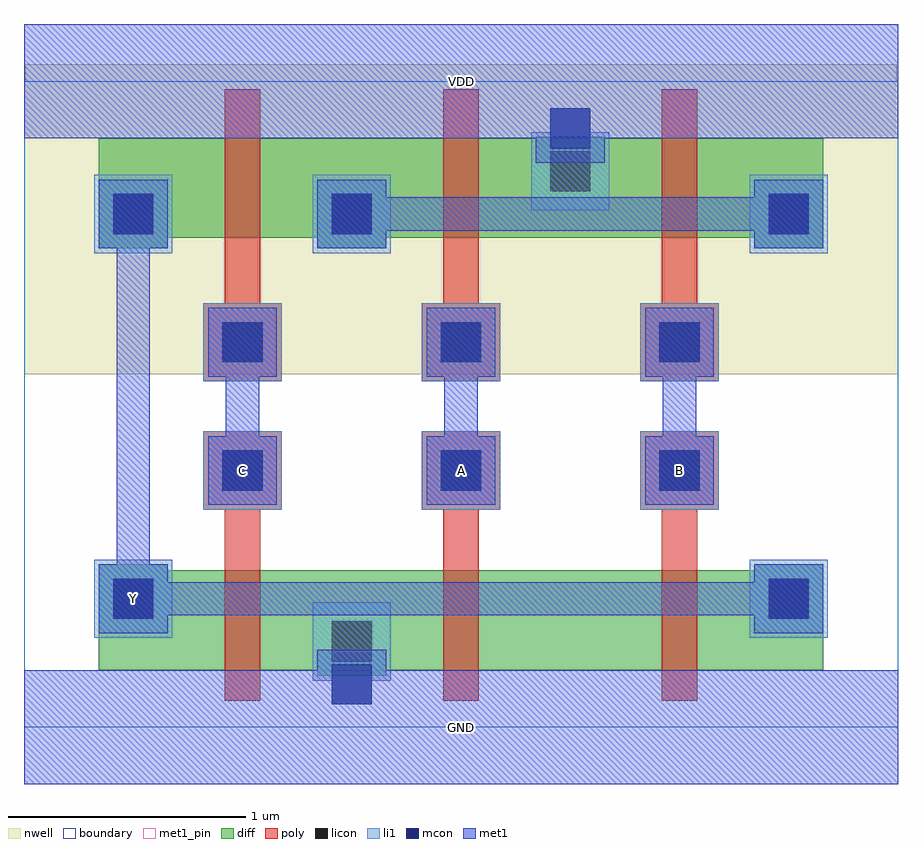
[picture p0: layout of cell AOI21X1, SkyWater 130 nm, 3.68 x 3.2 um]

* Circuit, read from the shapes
.subckt AOI21X1 A B C GND VDD Y
XM1 GND C Y VSUBS sky130_fd_pr__nfet_01v8 w=0.42 l=0.15
XM2 n1 A GND VSUBS sky130_fd_pr__nfet_01v8 w=0.42 l=0.15
XM3 Y B n1 VSUBS sky130_fd_pr__nfet_01v8 w=0.42 l=0.15
XM4 n2 C Y n3 sky130_fd_pr__pfet_01v8 w=0.42 l=0.15
XM5 VDD A n2 n3 sky130_fd_pr__pfet_01v8 w=0.42 l=0.15
XM6 n2 B VDD n3 sky130_fd_pr__pfet_01v8 w=0.42 l=0.15
.ends

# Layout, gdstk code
import gdstk
lib = gdstk.Library(unit=1e-6, precision=1e-09)
def R(c, l, rs):  # rectangles x0, y0, x1, y1
    for r in rs: c.add(gdstk.rectangle(r[:2], r[2:], *l))
def A(c, l, x, y, w, h, nx, ny, dx, dy):  # array of equal rectangles
    R(c, l, [(x+i*dx, y+j*dy, x+i*dx+w, y+j*dy+h) for i in range(nx) for j in range(ny)])
def P(c, l, *ps):  # polygons
    for p in ps: c.add(gdstk.Polygon(p, *l))
nwell = (64, 20)
diff = (65, 20)
poly = (66, 20)
licon = (66, 44)
li1 = (67, 20)
mcon = (67, 44)
met1_pin = (68, 16)
met1 = (68, 20)
boundary = (235, 4)

aoi21x1 = lib.new_cell('AOI21X1')
P(aoi21x1, nwell, [(0,1.485),(0,2.72),(0.005,2.72),(0.005,2.79),(3.675,2.79),(3.675,2.72),(3.68,2.72),(3.68,1.485)])
P(aoi21x1, diff, [(1.235,0.215),(1.235,0.24),(0.315,0.24),(0.315,0.685),(0.605,0.685),(0.605,0.66),(3.075,0.66),(3.075,0.685),(3.365,0.685),(3.365,0.24),(1.525,0.24),(1.525,0.215)],
  [(0.315,2.015),(0.315,2.48),(2.155,2.48),(2.155,2.485),(2.445,2.485),(2.445,2.48),(3.365,2.48),(3.365,2.015),(3.075,2.015),(3.075,2.06),(1.525,2.06),(1.525,2.015),(1.235,2.015),(1.235,2.06),(0.605,2.06),(0.605,2.015)])
P(aoi21x1, poly, [(0.845,0.11),(0.845,0.915),(0.755,0.915),(0.755,1.245),(1.085,1.245),(1.085,0.915),(0.995,0.915),(0.995,0.11)],
  [(1.765,0.11),(1.765,0.915),(1.675,0.915),(1.675,1.245),(2.005,1.245),(2.005,0.915),(1.915,0.915),(1.915,0.11)],
  [(2.685,0.11),(2.685,0.915),(2.595,0.915),(2.595,1.245),(2.925,1.245),(2.925,0.915),(2.835,0.915),(2.835,0.11)],
  [(0.755,1.455),(0.755,1.785),(0.845,1.785),(0.845,2.685),(0.995,2.685),(0.995,1.785),(1.085,1.785),(1.085,1.455)],
  [(1.675,1.455),(1.675,1.785),(1.765,1.785),(1.765,2.685),(1.915,2.685),(1.915,1.785),(2.005,1.785),(2.005,1.455)],
  [(2.595,1.455),(2.595,1.785),(2.685,1.785),(2.685,2.685),(2.835,2.685),(2.835,1.785),(2.925,1.785),(2.925,1.455)])
A(aoi21x1, licon, 0.835, 0.995, 0.17, 0.17, 3, 2, 0.92, 0.54)
R(aoi21x1, licon, [(1.295,0.275,1.465,0.445), (0.375,0.455,0.545,0.625), (3.135,0.455,3.305,0.625), (0.375,2.075,0.545,2.245), (1.295,2.075,1.465,2.245), (3.135,2.075,3.305,2.245), (2.215,2.255,2.385,2.425)])
A(aoi21x1, li1, 0.755, 0.915, 0.33, 0.33, 3, 2, 0.92, 0.54)
R(aoi21x1, li1, [(0.295,0.375,0.625,0.705), (3.055,0.375,3.385,0.705), (0.295,1.995,0.625,2.325), (1.215,1.995,1.545,2.325), (3.055,1.995,3.385,2.325)])
P(aoi21x1, li1, [(1.295,0.095),(1.295,0.195),(1.215,0.195),(1.215,0.525),(1.545,0.525),(1.545,0.195),(1.465,0.195),(1.465,0.095)],
  [(2.135,2.175),(2.135,2.505),(2.215,2.505),(2.215,2.605),(2.385,2.605),(2.385,2.505),(2.465,2.505),(2.465,2.175)])
A(aoi21x1, mcon, 0.835, 0.995, 0.17, 0.17, 3, 2, 0.92, 0.54)
R(aoi21x1, mcon, [(1.295,0.095,1.465,0.265), (0.375,0.455,0.545,0.625), (3.135,0.455,3.305,0.625), (0.375,2.075,0.545,2.245), (1.295,2.075,1.465,2.245), (3.135,2.075,3.305,2.245), (2.215,2.435,2.385,2.605)])
R(aoi21x1, met1_pin, [(0,-0.24,3.68,0.24), (0,2.48,3.68,2.96)])
P(aoi21x1, met1_pin, [(0.315,0.395),(0.315,0.685),(0.39,0.685),(0.39,2.015),(0.315,2.015),(0.315,2.305),(0.605,2.305),(0.605,2.015),(0.53,2.015),(0.53,0.685),(0.605,0.685),(0.605,0.61),(3.075,0.61),(3.075,0.685),(3.365,0.685),(3.365,0.395),(3.075,0.395),(3.075,0.47),(0.605,0.47),(0.605,0.395)],
  [(0.775,0.935),(0.775,1.225),(0.85,1.225),(0.85,1.475),(0.775,1.475),(0.775,1.765),(1.065,1.765),(1.065,1.475),(0.99,1.475),(0.99,1.225),(1.065,1.225),(1.065,0.935)],
  [(2.615,0.935),(2.615,1.225),(2.69,1.225),(2.69,1.475),(2.615,1.475),(2.615,1.765),(2.905,1.765),(2.905,1.475),(2.83,1.475),(2.83,1.225),(2.905,1.225),(2.905,0.935)],
  [(1.695,0.935),(1.695,1.225),(1.77,1.225),(1.77,1.475),(1.695,1.475),(1.695,1.765),(1.985,1.765),(1.985,1.475),(1.91,1.475),(1.91,1.225),(1.985,1.225),(1.985,0.935)])
P(aoi21x1, met1, [(0,-0.24),(0,0.24),(1.235,0.24),(1.235,0.325),(1.525,0.325),(1.525,0.24),(3.68,0.24),(3.68,-0.24)],
  [(0.775,0.935),(0.775,1.225),(0.85,1.225),(0.85,1.475),(0.775,1.475),(0.775,1.765),(1.065,1.765),(1.065,1.475),(0.99,1.475),(0.99,1.225),(1.065,1.225),(1.065,0.935)],
  [(1.695,0.935),(1.695,1.225),(1.77,1.225),(1.77,1.475),(1.695,1.475),(1.695,1.765),(1.985,1.765),(1.985,1.475),(1.91,1.475),(1.91,1.225),(1.985,1.225),(1.985,0.935)],
  [(2.615,0.935),(2.615,1.225),(2.69,1.225),(2.69,1.475),(2.615,1.475),(2.615,1.765),(2.905,1.765),(2.905,1.475),(2.83,1.475),(2.83,1.225),(2.905,1.225),(2.905,0.935)],
  [(0.315,0.395),(0.315,0.685),(0.39,0.685),(0.39,2.015),(0.315,2.015),(0.315,2.305),(0.605,2.305),(0.605,2.015),(0.53,2.015),(0.53,0.685),(0.605,0.685),(0.605,0.61),(3.075,0.61),(3.075,0.685),(3.365,0.685),(3.365,0.395),(3.075,0.395),(3.075,0.47),(0.605,0.47),(0.605,0.395)],
  [(1.235,2.015),(1.235,2.305),(1.525,2.305),(1.525,2.23),(3.075,2.23),(3.075,2.305),(3.365,2.305),(3.365,2.015),(3.075,2.015),(3.075,2.09),(1.525,2.09),(1.525,2.015)],
  [(2.155,2.375),(2.155,2.48),(0,2.48),(0,2.96),(3.68,2.96),(3.68,2.48),(2.445,2.48),(2.445,2.375)])
R(aoi21x1, boundary, [(0,0,3.68,2.72)])
aoi21x1.add(gdstk.Label('Y', (0.46,0.54), layer=68, texttype=5))
aoi21x1.add(gdstk.Label('C', (0.92,1.08), layer=68, texttype=5))
aoi21x1.add(gdstk.Label('B', (2.76,1.08), layer=68, texttype=5))
aoi21x1.add(gdstk.Label('A', (1.84,1.08), layer=68, texttype=5))
aoi21x1.add(gdstk.Label('GND', (1.84,0), layer=68, texttype=5))
aoi21x1.add(gdstk.Label('VDD', (1.84,2.72), layer=68, texttype=5))

lib.write_gds('AOI21X1.gds')
